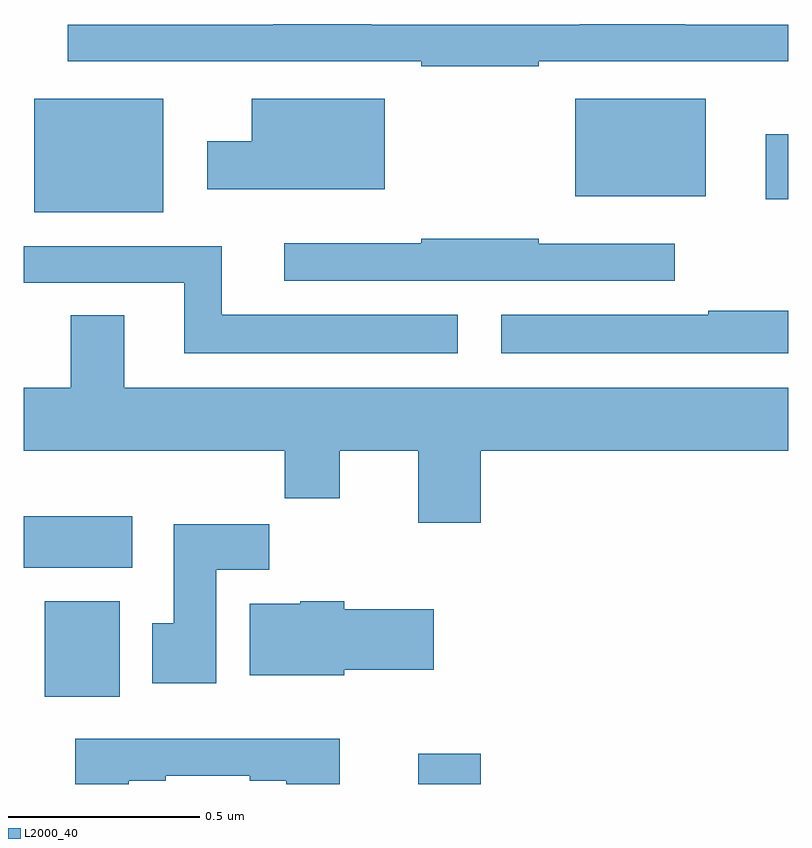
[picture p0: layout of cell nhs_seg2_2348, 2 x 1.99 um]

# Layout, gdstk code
import gdstk
lib = gdstk.Library(unit=1e-6, precision=1e-09)
def R(c, l, rs):  # rectangles x0, y0, x1, y1
    for r in rs: c.add(gdstk.rectangle(r[:2], r[2:], *l))
def P(c, l, *ps):  # polygons
    for p in ps: c.add(gdstk.Polygon(p, *l))
L2000_40 = (2000, 40)

nhs_seg2_2348 = lib.new_cell('nhs_seg2_2348')
R(nhs_seg2_2348, L2000_40, [(141.032,610.8,141.196,610.879), (140.055,611.028,140.251,611.278), (140,611.366,140.284,611.5), (140.027,612.296,140.365,612.592), (141.941,612.329,142,612.499), (141.443,612.338,141.784,612.592)])
P(nhs_seg2_2348, L2000_40, [(141.347,612.69),(142,612.69),(142,612.786),(141.731,612.786),(141.731,612.788),(141.454,612.788),(141.454,612.786),(140.909,612.786),(140.909,612.788),(140.653,612.788),(140.653,612.786),(140.115,612.786),(140.115,612.69),(141.04,612.69),(141.04,612.678),(141.347,612.678)],
  [(140.944,612.592),(140.597,612.592),(140.597,612.481),(140.48,612.481),(140.48,612.356),(140.944,612.356)],
  [(141.703,612.213),(141.347,612.213),(141.347,612.226),(141.04,612.226),(141.04,612.214),(140.682,612.214),(140.682,612.117),(141.703,612.117)],
  [(141.136,612.028),(140.518,612.028),(140.518,612.207),(140,612.207),(140,612.111),(140.42,612.111),(140.42,611.927),(141.136,611.927)],
  [(142,612.038),(141.79,612.038),(141.79,612.028),(141.249,612.028),(141.249,611.927),(142,611.927)],
  [(141.196,611.672),(142,611.672),(142,611.836),(140.263,611.836),(140.263,612.026),(140.123,612.026),(140.123,611.836),(140,611.836),(140,611.672),(140.683,611.672),(140.683,611.548),(140.827,611.548),(140.827,611.672),(141.032,611.672),(141.032,611.484),(141.196,611.484)],
  [(140.503,611.36),(140.642,611.36),(140.642,611.479),(140.393,611.479),(140.393,611.22),(140.336,611.22),(140.336,611.064),(140.503,611.064)],
  [(140.838,611.099),(141.073,611.099),(141.073,611.257),(140.838,611.257),(140.838,611.278),(140.724,611.278),(140.724,611.272),(140.591,611.272),(140.591,611.084),(140.838,611.084)],
  [(140.275,610.809),(140.371,610.809),(140.371,610.821),(140.591,610.821),(140.591,610.809),(140.687,610.809),(140.687,610.8),(140.827,610.8),(140.827,610.918),(140.135,610.918),(140.135,610.8),(140.275,610.8)])

lib.write_gds('nhs_seg2_2348.gds')
